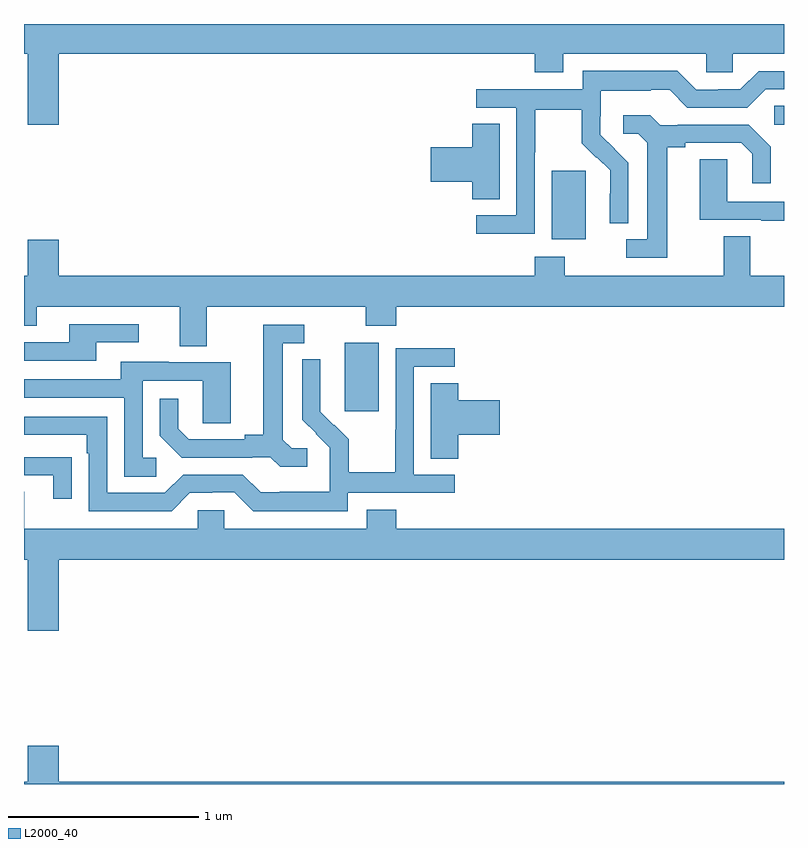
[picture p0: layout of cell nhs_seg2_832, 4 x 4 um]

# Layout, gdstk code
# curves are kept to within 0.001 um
import gdstk
lib = gdstk.Library(unit=1e-6, precision=1e-09)
def R(c, l, rs):  # rectangles x0, y0, x1, y1
    for r in rs: c.add(gdstk.rectangle(r[:2], r[2:], *l))
def P(c, l, *ps):  # polygons
    for p in ps: c.add(gdstk.Polygon(p, *l))
L2000_40 = (2000, 40)

nhs_seg2_832 = lib.new_cell('nhs_seg2_832')
R(nhs_seg2_832, L2000_40, [(154.688,637.761,154.867,638.122), (155.777,638.666,155.956,639.027), (156.948,639.27,157,639.371)])
P(nhs_seg2_832, L2000_40, [(153.184,639.644),(155.687,639.644),(155.687,639.545),(155.839,639.545),(155.839,639.644),(156.591,639.644),(156.591,639.546),(156.729,639.546),(156.729,639.644),(157,639.644),(157,639.8),(153,639.8),(153,639.644),(153.02,639.644),(153.02,639.27),(153.184,639.27)],
  [(155.688,639.124),(155.691,639.124),(155.691,639.348),(155.935,639.348),(155.935,639.173),(156.012,639.096),(156.015,639.099),(156.086,639.029),(156.086,638.906),(156.084,638.906),(156.084,638.752),(156.18,638.752),(156.18,639.07),(156.034,639.218),(156.034,639.315),(156.036,639.315),(156.036,639.449),(156.299,639.449),(156.299,639.453),(156.399,639.453),(156.492,639.36),(156.807,639.36),(156.903,639.456),(157,639.456),(157,639.552),(156.867,639.552),(156.771,639.456),(156.653,639.456),(156.653,639.453),(156.537,639.453),(156.437,639.553),(155.94,639.553),(155.94,639.456),(155.379,639.456),(155.379,639.36),(155.592,639.36),(155.592,638.793),(155.379,638.793),(155.379,638.695),(155.688,638.695)],
  [(156.385,639.152),(156.481,639.152),(156.481,639.174),(156.776,639.174),(156.833,639.117),(156.833,638.961),(156.93,638.961),(156.93,639.154),(156.814,639.27),(156.442,639.27),(156.442,639.267),(156.348,639.267),(156.296,639.319),(156.153,639.319),(156.153,639.222),(156.234,639.222),(156.281,639.175),(156.281,638.667),(156.171,638.667),(156.171,638.571),(156.385,638.571)],
  [(155.503,639.275),(155.36,639.275),(155.36,639.152),(155.142,639.152),(155.142,638.969),(155.36,638.969),(155.36,638.878),(155.503,638.878)],
  [(157,638.865),(156.702,638.865),(156.702,639.089),(156.557,639.089),(156.557,638.769),(156.881,638.769),(156.881,638.765),(157,638.765)],
  [(153.184,638.665),(153.02,638.665),(153.02,638.476),(153,638.476),(153,638.213),(153.067,638.213),(153.067,638.312),(153.821,638.312),(153.821,638.104),(153.961,638.104),(153.961,638.312),(154.798,638.312),(154.798,638.213),(154.958,638.213),(154.958,638.312),(157,638.312),(157,638.476),(156.823,638.476),(156.823,638.684),(156.683,638.684),(156.683,638.476),(155.847,638.476),(155.847,638.575),(155.687,638.575),(155.687,638.476),(153.184,638.476)],
  [(153.379,638.124),(153.604,638.124),(153.604,638.22),(153.239,638.22),(153.239,638.124),(153,638.124),(153,638.028),(153.379,638.028)],
  [(154.492,637.566),(154.41,637.566),(154.363,637.613),(154.363,638.121),(154.474,638.121),(154.474,638.217),(154.259,638.217),(154.259,637.637),(154.163,637.637),(154.163,637.614),(153.868,637.614),(153.811,637.671),(153.811,637.828),(153.714,637.828),(153.714,637.634),(153.83,637.518),(154.202,637.518),(154.202,637.521),(154.296,637.521),(154.348,637.469),(154.492,637.469)],
  [(154.704,637.332),(155.266,637.332),(155.266,637.428),(155.052,637.428),(155.052,637.995),(155.266,637.995),(155.266,638.094),(154.956,638.094),(154.956,637.664),(154.954,637.664),(154.954,637.441),(154.709,637.441),(154.709,637.615),(154.632,637.692),(154.629,637.689),(154.559,637.76),(154.56,638.036),(154.464,638.036),(154.464,637.718),(154.61,637.57),(154.61,637.473),(154.608,637.473),(154.608,637.339),(154.345,637.339),(154.345,637.335),(154.245,637.335),(154.152,637.428),(153.837,637.428),(153.741,637.332),(153.438,637.332),(153.438,637.734),(153,637.734),(153,637.638),(153.329,637.638),(153.329,637.541),(153.342,637.541),(153.342,637.236),(153.777,637.236),(153.873,637.332),(153.992,637.332),(153.992,637.335),(154.107,637.335),(154.207,637.235),(154.704,637.235)],
  [(153.697,637.518),(153.624,637.518),(153.624,637.923),(153.942,637.923),(153.942,637.699),(154.087,637.699),(154.087,638.019),(153.763,638.019),(153.763,638.023),(153.509,638.023),(153.509,637.929),(153,637.929),(153,637.833),(153.528,637.833),(153.528,637.417),(153.697,637.417)],
  [(155.285,637.637),(155.503,637.637),(155.503,637.82),(155.285,637.82),(155.285,637.91),(155.141,637.91),(155.141,637.513),(155.285,637.513)],
  [(153.251,637.52),(153.149,637.52),(153.149,637.521),(153,637.521),(153,637.425),(153.155,637.425),(153.155,637.302),(153.251,637.302)],
  [(153.184,636.98),(157,636.98),(157,637.144),(154.958,637.144),(154.958,637.243),(154.805,637.243),(154.805,637.144),(154.053,637.144),(154.053,637.242),(153.915,637.242),(153.915,637.144),(153.001,637.144),(153.001,637.339),(153,637.339),(153,636.98),(153.02,636.98),(153.02,636.606),(153.184,636.606)],
  [(157,635.812),(153.184,635.812),(153.184,636.001),(153.02,636.001),(153.02,635.812),(153,635.812),(153,635.8),(157,635.8)])

lib.write_gds('nhs_seg2_832.gds')
